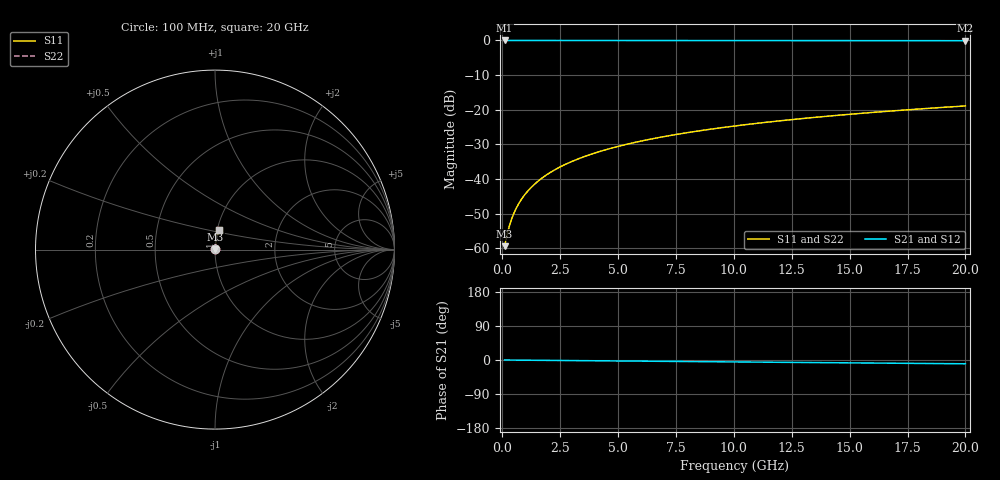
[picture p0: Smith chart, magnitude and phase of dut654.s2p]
! Touchstone file exported from HFSS 2026.1.0
!  File:  C:/ffzhzh/LocalFiles/Ansys_Project_Files/temp_train_TMRDL_654_1783009595_55676.aedt
!  Generated:  12:27:51 AM Jul  3, 2026
!  Design:  TMRDL
!  Project:  temp_train_TMRDL_654_1783009595_55676
! Variables:
!  h_bsmrdl = 2um
!  h_ox = 20um
!  h_rdl = 5um
!  h_sub = 80um
!  h_tmrdl = 4.63um
!  h_tsv = 80um
!  h_via = 3um
!  l_bsmrdl = 300um
!  l_sub = 512.96um
!  l_tmrdl = 112.96um
!  m_sub = 200um
!  pitch = 35.6um
!  r_tsv = 6um
!  s_tmrdl = 10um
!  w_bsmrdl = 18um
!  w_sub = 500um
!  w_tmrdl = 11.55um
!  x_tsv_center1 = 118.735um
!  x_tsv_center2 = 436.735um
!  x_tsv_center3 = 561.245um
!  x_tsv_center4 = 879.245um
!  x_tsv_center5 = 1003.755um
!  x_tsv_center6 = 1321.755um
# GHz S MA R 50.000000
! Terminal data exported
! Port[1] = TM_RDL1_1_T1
! Port[2] = TM_RDL1_1_T2
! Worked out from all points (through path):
!   200 points, 100 MHz to 20 GHz, reference 50 ohm
!   highest |S21| = -0.01 dB at 100 MHz (marker M1); lowest = -0.1 dB at 20 GHz (marker M2)
!   group delay of S21, straight-line fit = 1.39 ps
!   lowest |S11| = -59.4 dB at 100 MHz (marker M3), VSWR 1.00, Z = 50.1 + j0.0627 ohm
!   |S11| at or under -10 dB: start of sweep to end of sweep
!   |S22| runs from -59.4 to -18.9 dB; largest |S21 - S12| = 2.2e-15
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0.1  0.001072 35.7  0.9991 -0.1  0.9991 -0.1  0.001072 35.7
! Gamma 0 0 0 0
! Port Impedance 50 0 50 0
0.2  0.00153 54.5  0.9991 -0.1  0.9991 -0.1  0.00153 54.5
0.3  0.002067 63.8  0.9991 -0.2  0.9991 -0.2  0.002067 63.8
0.4  0.002629 69.1  0.9991 -0.2  0.9991 -0.2  0.002629 69.1
0.5  0.003199 72.5  0.999 -0.3  0.999 -0.3  0.003199 72.5
0.6  0.003775 74.9  0.999 -0.3  0.999 -0.3  0.003775 74.9
0.8  0.004935 78.0  0.999 -0.4  0.999 -0.4  0.004935 78.0
1.1  0.006688 80.6  0.999 -0.6  0.999 -0.6  0.006688 80.6
1.5  0.00904 82.5  0.9989 -0.8  0.9989 -0.8  0.00904 82.5
1.8  0.01081 83.3  0.9988 -0.9  0.9988 -0.9  0.01081 83.3
2.1  0.01258 83.8  0.9988 -1.1  0.9988 -1.1  0.01258 83.8
2.7  0.01611 84.3  0.9987 -1.4  0.9987 -1.4  0.01611 84.3
3.5  0.02081 84.5  0.9984 -1.8  0.9984 -1.8  0.02081 84.5
4.2  0.02489 84.5  0.9982 -2.2  0.9982 -2.2  0.02489 84.5
5  0.02953 84.3  0.998 -2.6  0.998 -2.6  0.02953 84.3
5.9  0.03472 84.1  0.9976 -3.0  0.9976 -3.0  0.03472 84.1
6.8  0.03988 83.7  0.9973 -3.5  0.9973 -3.5  0.03988 83.7
8.3  0.04841 83.2  0.9966 -4.2  0.9966 -4.2  0.04841 83.2
10.1  0.05857 82.4  0.9958 -5.1  0.9958 -5.1  0.05857 82.4
13.4  0.07702 81.1  0.9941 -6.8  0.9941 -6.8  0.07702 81.1
16.7  0.09529 79.6  0.9922 -8.4  0.9922 -8.4  0.09529 79.6
20  0.1134 78.2  0.99 -10.0  0.99 -10.0  0.1134 78.2
